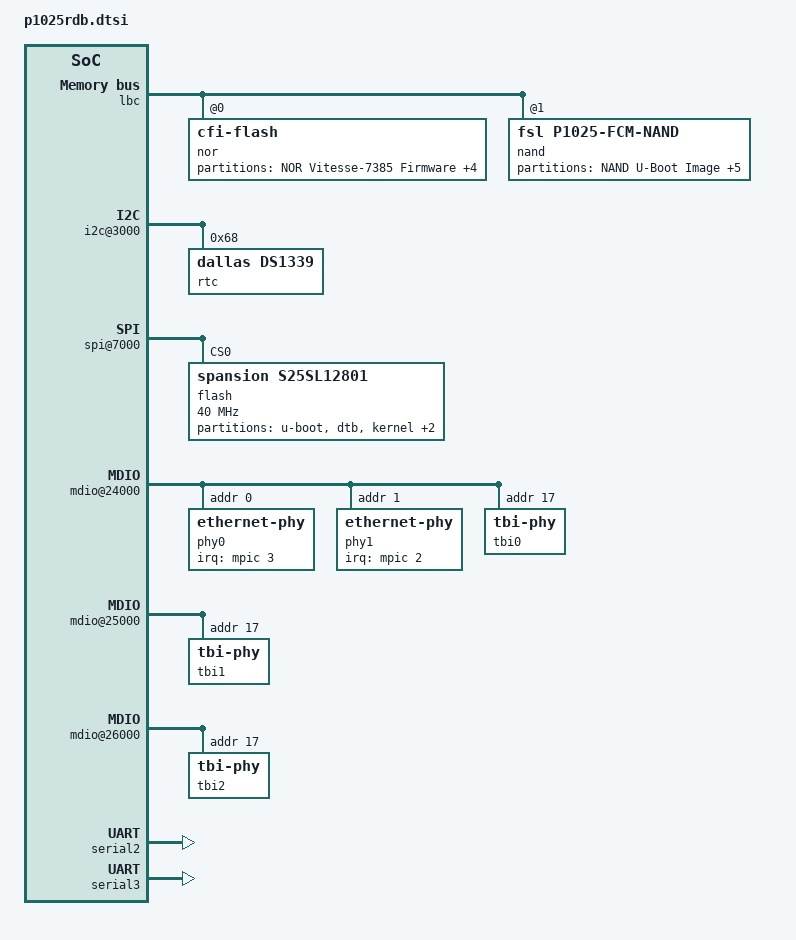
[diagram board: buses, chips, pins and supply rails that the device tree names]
/*
 * P1025 RDB Device Tree Source stub (no addresses or top-level ranges)
 *
 * Copyright 2011 Freescale Semiconductor Inc.
 *
 * Redistribution and use in source and binary forms, with or without
 * modification, are permitted provided that the following conditions are met:
 *     * Redistributions of source code must retain the above copyright
 *       notice, this list of conditions and the following disclaimer.
 *     * Redistributions in binary form must reproduce the above copyright
 *       notice, this list of conditions and the following disclaimer in the
 *       documentation and/or other materials provided with the distribution.
 *     * Neither the name of Freescale Semiconductor nor the
 *       names of its contributors may be used to endorse or promote products
 *       derived from this software without specific prior written permission.
 *
 *
 * ALTERNATIVELY, this software may be distributed under the terms of the
 * GNU General Public License ("GPL") as published by the Free Software
 * Foundation, either version 2 of that License or (at your option) any
 * later version.
 *
 * THIS SOFTWARE IS PROVIDED BY Freescale Semiconductor ``AS IS'' AND ANY
 * EXPRESS OR IMPLIED WARRANTIES, INCLUDING, BUT NOT LIMITED TO, THE IMPLIED
 * WARRANTIES OF MERCHANTABILITY AND FITNESS FOR A PARTICULAR PURPOSE ARE
 * DISCLAIMED. IN NO EVENT SHALL Freescale Semiconductor BE LIABLE FOR ANY
 * DIRECT, INDIRECT, INCIDENTAL, SPECIAL, EXEMPLARY, OR CONSEQUENTIAL DAMAGES
 * (INCLUDING, BUT NOT LIMITED TO, PROCUREMENT OF SUBSTITUTE GOODS OR SERVICES;
 * LOSS OF USE, DATA, OR PROFITS; OR BUSINESS INTERRUPTION) HOWEVER CAUSED AND
 * ON ANY THEORY OF LIABILITY, WHETHER IN CONTRACT, STRICT LIABILITY, OR TORT
 * (INCLUDING NEGLIGENCE OR OTHERWISE) ARISING IN ANY WAY OUT OF THE USE OF THIS
 * SOFTWARE, EVEN IF ADVISED OF THE POSSIBILITY OF SUCH DAMAGE.
 */

&lbc {
	nor@0,0 {
		#address-cells = <1>;
		#size-cells = <1>;
		compatible = "cfi-flash";
		reg = <0x0 0x0 0x1000000>;
		bank-width = <2>;
		device-width = <1>;

		partition@0 {
			/* This location must not be altered  */
			/* 256KB for Vitesse 7385 Switch firmware */
			reg = <0x0 0x00040000>;
			label = "NOR Vitesse-7385 Firmware";
			read-only;
		};

		partition@40000 {
			/* 256KB for DTB Image */
			reg = <0x00040000 0x00040000>;
			label = "NOR DTB Image";
		};

		partition@80000 {
			/* 3.5 MB for Linux Kernel Image */
			reg = <0x00080000 0x00380000>;
			label = "NOR Linux Kernel Image";
		};

		partition@400000 {
			/* 11MB for JFFS2 based Root file System */
			reg = <0x00400000 0x00b00000>;
			label = "NOR JFFS2 Root File System";
		};

		partition@f00000 {
			/* This location must not be altered  */
			/* 512KB for u-boot Bootloader Image */
			/* 512KB for u-boot Environment Variables */
			reg = <0x00f00000 0x00100000>;
			label = "NOR U-Boot Image";
			read-only;
		};
	};

	nand@1,0 {
		#address-cells = <1>;
		#size-cells = <1>;
		compatible = "fsl,p1025-fcm-nand",
			     "fsl,elbc-fcm-nand";
		reg = <0x1 0x0 0x40000>;

		partition@0 {
			/* This location must not be altered  */
			/* 1MB for u-boot Bootloader Image */
			reg = <0x0 0x00100000>;
			label = "NAND U-Boot Image";
			read-only;
		};

		partition@100000 {
			/* 1MB for DTB Image */
			reg = <0x00100000 0x00100000>;
			label = "NAND DTB Image";
		};

		partition@200000 {
			/* 4MB for Linux Kernel Image */
			reg = <0x00200000 0x00400000>;
			label = "NAND Linux Kernel Image";
		};

		partition@600000 {
			/* 4MB for Compressed Root file System Image */
			reg = <0x00600000 0x00400000>;
			label = "NAND Compressed RFS Image";
		};

		partition@a00000 {
			/* 7MB for JFFS2 based Root file System */
			reg = <0x00a00000 0x00700000>;
			label = "NAND JFFS2 Root File System";
		};

		partition@1100000 {
			/* 15MB for JFFS2 based Root file System */
			reg = <0x01100000 0x00f00000>;
			label = "NAND Writable User area";
		};
	};

};

&soc {
	i2c@3000 {
		rtc@68 {
			compatible = "dallas,ds1339";
			reg = <0x68>;
		};
	};

	spi@7000 {
		flash@0 {
			#address-cells = <1>;
			#size-cells = <1>;
			compatible = "spansion,s25sl12801", "jedec,spi-nor";
			reg = <0>;
			spi-max-frequency = <40000000>; /* input clock */

			partition@u-boot {
				/* 512KB for u-boot Bootloader Image */
				reg = <0x0 0x00080000>;
				label = "u-boot";
				read-only;
			};

			partition@dtb {
				/* 512KB for DTB Image */
				reg = <0x00080000 0x00080000>;
				label = "dtb";
			};

			partition@kernel {
				/* 4MB for Linux Kernel Image */
				reg = <0x00100000 0x00400000>;
				label = "kernel";
			};

			partition@fs {
				/* 4MB for Compressed RFS Image */
				reg = <0x00500000 0x00400000>;
				label = "file system";
			};

			partition@jffs-fs {
				/* 7MB for JFFS2 based RFS */
				reg = <0x00900000 0x00700000>;
				label = "file system jffs2";
			};
		};
	};

	usb@22000 {
		phy_type = "ulpi";
	};

	/* USB2 is shared with localbus, so it must be disabled
	   by default. We can't put 'status = "disabled";' here
	   since U-Boot doesn't clear the status property when
	   it enables USB2. OTOH, U-Boot does create a new node
	   when there isn't any. So, just comment it out.
	usb@23000 {
		phy_type = "ulpi";
	};
	*/

	mdio@24000 {
		phy0: ethernet-phy@0 {
			interrupt-parent = <&mpic>;
			interrupts = <3 1>;
			reg = <0x0>;
		};

		phy1: ethernet-phy@1 {
			interrupt-parent = <&mpic>;
			interrupts = <2 1>;
			reg = <0x1>;
		};

		tbi0: tbi-phy@11 {
			reg = <0x11>;
			device_type = "tbi-phy";
		};
	};

	mdio@25000 {
		tbi1: tbi-phy@11 {
			reg = <0x11>;
			device_type = "tbi-phy";
		};
	};

	mdio@26000 {
		tbi2: tbi-phy@11 {
			reg = <0x11>;
			device_type = "tbi-phy";
		};
	};

	enet0: ethernet@b0000 {
		fixed-link = <1 1 1000 0 0>;
		phy-connection-type = "rgmii-id";

	};

	enet1: ethernet@b1000 {
		phy-handle = <&phy0>;
		tbi-handle = <&tbi1>;
		phy-connection-type = "sgmii";
	};

	enet2: ethernet@b2000 {
		phy-handle = <&phy1>;
		phy-connection-type = "rgmii-id";
	};

	par_io@e0100 {
		#address-cells = <1>;
		#size-cells = <1>;
		reg = <0xe0100 0x60>;
		ranges = <0x0 0xe0100 0x60>;
		device_type = "par_io";
		num-ports = <3>;
		pio1: ucc_pin@1 {
			pio-map = <
		/* port  pin  dir  open_drain  assignment  has_irq */
				0x1  0x13 0x1  0x0  0x1  0x0    /* QE_MUX_MDC */
				0x1  0x14 0x3  0x0  0x1  0x0    /* QE_MUX_MDIO */
				0x0  0x17 0x2  0x0  0x2  0x0    /* CLK12 */
				0x0  0x18 0x2  0x0  0x1  0x0    /* CLK9 */
				0x0  0x7  0x1  0x0  0x2  0x0    /* ENET1_TXD0_SER1_TXD0 */
				0x0  0x9  0x1  0x0  0x2  0x0    /* ENET1_TXD1_SER1_TXD1 */
				0x0  0xb  0x1  0x0  0x2  0x0    /* ENET1_TXD2_SER1_TXD2 */
				0x0  0xc  0x1  0x0  0x2  0x0    /* ENET1_TXD3_SER1_TXD3 */
				0x0  0x6  0x2  0x0  0x2  0x0    /* ENET1_RXD0_SER1_RXD0 */
				0x0  0xa  0x2  0x0  0x2  0x0    /* ENET1_RXD1_SER1_RXD1 */
				0x0  0xe  0x2  0x0  0x2  0x0    /* ENET1_RXD2_SER1_RXD2 */
				0x0  0xf  0x2  0x0  0x2  0x0    /* ENET1_RXD3_SER1_RXD3 */
				0x0  0x5  0x1  0x0  0x2  0x0    /* ENET1_TX_EN_SER1_RTS_B */
				0x0  0xd  0x1  0x0  0x2  0x0    /* ENET1_TX_ER */
				0x0  0x4  0x2  0x0  0x2  0x0    /* ENET1_RX_DV_SER1_CTS_B */
				0x0  0x8  0x2  0x0  0x2  0x0    /* ENET1_RX_ER_SER1_CD_B */
				0x0  0x11 0x2  0x0  0x2  0x0    /* ENET1_CRS */
				0x0  0x10 0x2  0x0  0x2  0x0>;    /* ENET1_COL */
		};

		pio2: ucc_pin@2 {
			pio-map = <
		/* port  pin  dir  open_drain  assignment  has_irq */
				0x1  0x13 0x1  0x0  0x1  0x0    /* QE_MUX_MDC */
				0x1  0x14 0x3  0x0  0x1  0x0    /* QE_MUX_MDIO */
				0x1  0xb  0x2  0x0  0x1  0x0    /* CLK13 */
				0x1  0x7  0x1  0x0  0x2  0x0    /* ENET5_TXD0_SER5_TXD0 */
				0x1  0xa  0x1  0x0  0x2  0x0    /* ENET5_TXD1_SER5_TXD1 */
				0x1  0x6  0x2  0x0  0x2  0x0    /* ENET5_RXD0_SER5_RXD0 */
				0x1  0x9  0x2  0x0  0x2  0x0    /* ENET5_RXD1_SER5_RXD1 */
				0x1  0x5  0x1  0x0  0x2  0x0    /* ENET5_TX_EN_SER5_RTS_B */
				0x1  0x4  0x2  0x0  0x2  0x0    /* ENET5_RX_DV_SER5_CTS_B */
				0x1  0x8  0x2  0x0  0x2  0x0>;    /* ENET5_RX_ER_SER5_CD_B */
		};

		pio3: ucc_pin@3 {
			pio-map = <
		/* port  pin  dir  open_drain  assignment  has_irq */
				0x0  0x16 0x2  0x0  0x2  0x0    /* SER7_CD_B*/
				0x0  0x12 0x2  0x0  0x2  0x0    /* SER7_CTS_B*/
				0x0  0x13 0x1  0x0  0x2  0x0    /* SER7_RTS_B*/
				0x0  0x14 0x2  0x0  0x2  0x0    /* SER7_RXD0*/
				0x0  0x15 0x1  0x0  0x2  0x0>;    /* SER7_TXD0*/
		};

		pio4: ucc_pin@4 {
			pio-map = <
		/* port  pin  dir  open_drain  assignment  has_irq */
				0x1  0x0  0x2  0x0  0x2  0x0    /* SER3_CD_B*/
				0x0  0x1c 0x2  0x0  0x2  0x0    /* SER3_CTS_B*/
				0x0  0x1d 0x1  0x0  0x2  0x0    /* SER3_RTS_B*/
				0x0  0x1e 0x2  0x0  0x2  0x0    /* SER3_RXD0*/
				0x0  0x1f 0x1  0x0  0x2  0x0>;    /* SER3_TXD0*/
		};
	};
};

&qe {
	serial2: ucc@2600 {
		device_type = "serial";
		compatible = "ucc_uart";
		port-number = <0>;
		rx-clock-name = "brg6";
		tx-clock-name = "brg6";
		pio-handle = <&pio3>;
	};

	serial3: ucc@2200 {
		device_type = "serial";
		compatible = "ucc_uart";
		port-number = <1>;
		rx-clock-name = "brg2";
		tx-clock-name = "brg2";
		pio-handle = <&pio4>;
	};
};
